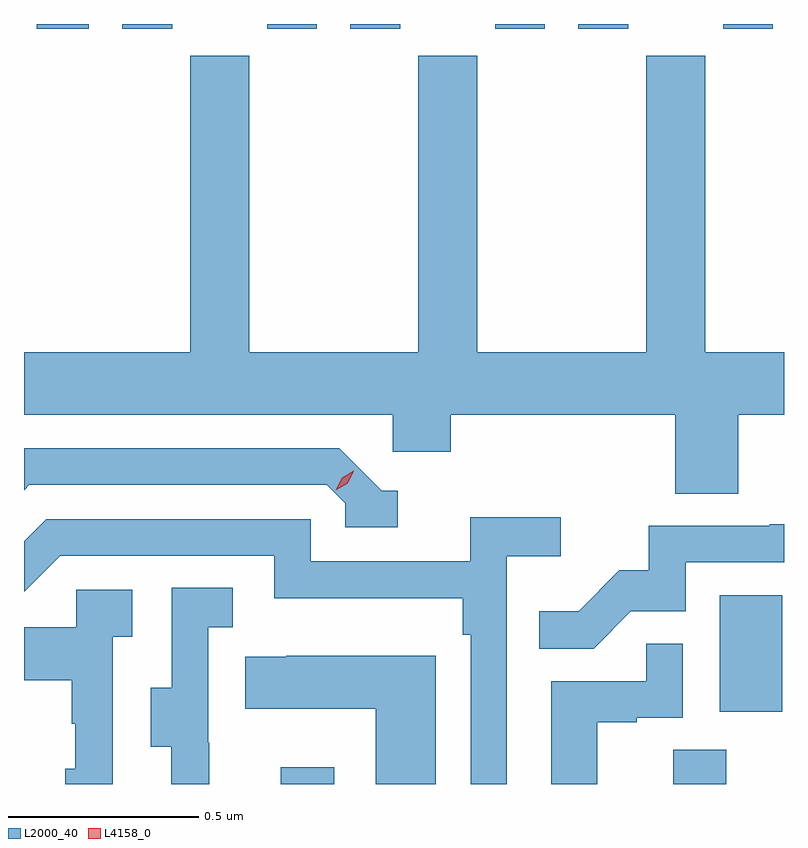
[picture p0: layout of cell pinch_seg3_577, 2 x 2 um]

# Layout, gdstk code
import gdstk
lib = gdstk.Library(unit=1e-6, precision=1e-09)
def R(c, l, rs):  # rectangles x0, y0, x1, y1
    for r in rs: c.add(gdstk.rectangle(r[:2], r[2:], *l))
def P(c, l, *ps):  # polygons
    for p in ps: c.add(gdstk.Polygon(p, *l))
L2000_40 = (2000, 40)
L4158_0 = (4158, 0)

pinch_seg3_577 = lib.new_cell('pinch_seg3_577')
R(pinch_seg3_577, L2000_40, [(1101.713,686.624,1101.853,686.668), (1102.745,686.624,1102.885,686.714), (1102.868,686.814,1103.032,687.121), (1101.071,688.611,1101.208,688.624), (1101.296,688.611,1101.427,688.624), (1101.677,688.611,1101.808,688.624), (1101.896,688.611,1102.027,688.624), (1102.277,688.611,1102.408,688.624), (1102.496,688.611,1102.627,688.624), (1102.877,688.611,1103.008,688.624)])
P(pinch_seg3_577, L2000_40, [(1102.916,687.596),(1103.037,687.596),(1103.037,687.76),(1102.83,687.76),(1102.83,688.54),(1102.675,688.54),(1102.675,687.76),(1102.23,687.76),(1102.23,688.54),(1102.075,688.54),(1102.075,687.76),(1101.63,687.76),(1101.63,688.54),(1101.475,688.54),(1101.475,687.76),(1101.037,687.76),(1101.037,687.596),(1102.008,687.596),(1102.008,687.498),(1102.16,687.498),(1102.16,687.596),(1102.751,687.596),(1102.751,687.388),(1102.916,687.388)],
  [(1102.021,687.396),(1101.978,687.396),(1101.867,687.507),(1101.037,687.507),(1101.037,687.397),(1101.051,687.411),(1101.834,687.411),(1101.882,687.363),(1101.882,687.3),(1102.021,687.3)],
  [(1102.308,687.224),(1102.45,687.224),(1102.45,687.326),(1102.211,687.326),(1102.211,687.21),(1101.792,687.21),(1101.792,687.321),(1101.095,687.321),(1101.037,687.263),(1101.037,687.13),(1101.132,687.225),(1101.696,687.225),(1101.696,687.113),(1102.192,687.113),(1102.192,687.017),(1102.212,687.017),(1102.212,686.624),(1102.308,686.624)],
  [(1102.634,687.078),(1102.779,687.078),(1102.779,687.207),(1103.037,687.207),(1103.037,687.308),(1102.999,687.308),(1102.999,687.303),(1102.681,687.303),(1102.681,687.186),(1102.604,687.186),(1102.497,687.079),(1102.393,687.079),(1102.393,686.98),(1102.536,686.98)],
  [(1101.524,686.733),(1101.522,686.733),(1101.522,687.037),(1101.586,687.037),(1101.586,687.14),(1101.426,687.14),(1101.426,686.877),(1101.371,686.877),(1101.371,686.722),(1101.425,686.722),(1101.425,686.624),(1101.524,686.624)],
  [(1101.27,687.011),(1101.322,687.011),(1101.322,687.135),(1101.174,687.135),(1101.174,687.037),(1101.037,687.037),(1101.037,686.897),(1101.162,686.897),(1101.162,686.783),(1101.172,686.783),(1101.172,686.664),(1101.146,686.664),(1101.146,686.624),(1101.27,686.624)],
  [(1102.546,686.787),(1102.649,686.787),(1102.649,686.799),(1102.77,686.799),(1102.77,686.993),(1102.675,686.993),(1102.675,686.895),(1102.424,686.895),(1102.424,686.624),(1102.546,686.624)],
  [(1102.12,686.962),(1101.727,686.962),(1101.727,686.959),(1101.619,686.959),(1101.619,686.822),(1101.962,686.822),(1101.962,686.624),(1102.12,686.624)])
P(pinch_seg3_577, L4158_0, [(1101.858,687.397),(1101.858,687.397),(1101.874,687.43),(1101.905,687.449),(1101.905,687.449),(1101.905,687.449),(1101.889,687.416),(1101.858,687.397)])

lib.write_gds('pinch_seg3_577.gds')
